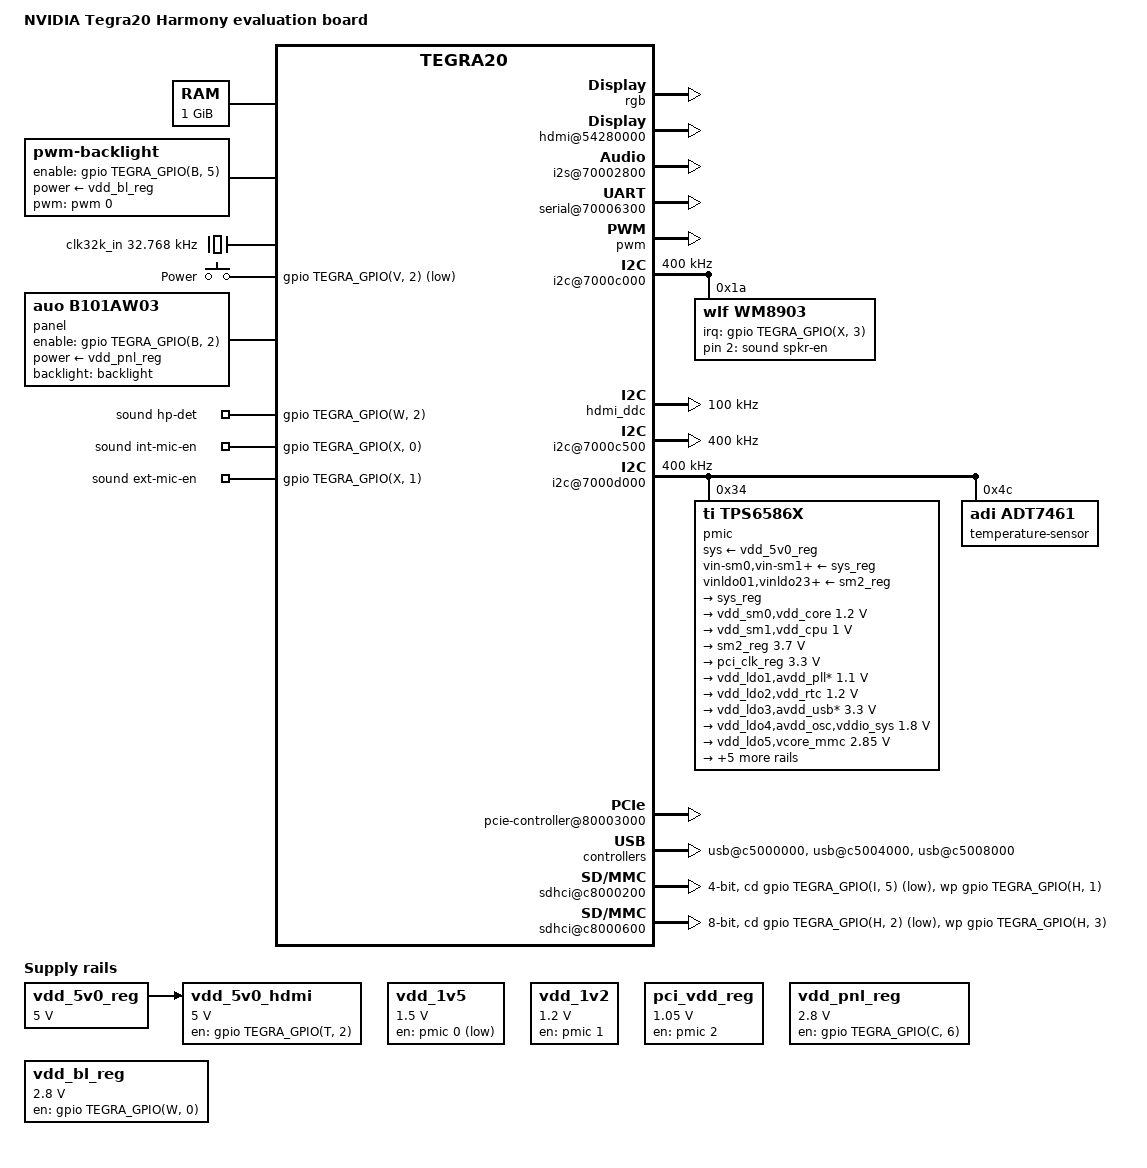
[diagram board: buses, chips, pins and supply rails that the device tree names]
/dts-v1/;

#include <dt-bindings/input/input.h>
#include "tegra20.dtsi"

/ {
	model = "NVIDIA Tegra20 Harmony evaluation board";
	compatible = "nvidia,harmony", "nvidia,tegra20";

	aliases {
		rtc0 = "/i2c@7000d000/tps6586x@34";
		rtc1 = "/rtc@7000e000";
		serial0 = &uartd;
	};

	memory {
		reg = <0x00000000 0x40000000>;
	};

	host1x@50000000 {
		dc@54200000 {
			rgb {
				status = "okay";

				nvidia,panel = <&panel>;
			};
		};

		hdmi@54280000 {
			status = "okay";

			hdmi-supply = <&vdd_5v0_hdmi>;
			vdd-supply = <&hdmi_vdd_reg>;
			pll-supply = <&hdmi_pll_reg>;

			nvidia,ddc-i2c-bus = <&hdmi_ddc>;
			nvidia,hpd-gpio = <&gpio TEGRA_GPIO(N, 7)
				GPIO_ACTIVE_HIGH>;
		};
	};

	pinmux@70000014 {
		pinctrl-names = "default";
		pinctrl-0 = <&state_default>;

		state_default: pinmux {
			ata {
				nvidia,pins = "ata";
				nvidia,function = "ide";
			};
			atb {
				nvidia,pins = "atb", "gma", "gme";
				nvidia,function = "sdio4";
			};
			atc {
				nvidia,pins = "atc";
				nvidia,function = "nand";
			};
			atd {
				nvidia,pins = "atd", "ate", "gmb", "gmd", "gpu",
					"spia", "spib", "spic";
				nvidia,function = "gmi";
			};
			cdev1 {
				nvidia,pins = "cdev1";
				nvidia,function = "plla_out";
			};
			cdev2 {
				nvidia,pins = "cdev2";
				nvidia,function = "pllp_out4";
			};
			crtp {
				nvidia,pins = "crtp";
				nvidia,function = "crt";
			};
			csus {
				nvidia,pins = "csus";
				nvidia,function = "vi_sensor_clk";
			};
			dap1 {
				nvidia,pins = "dap1";
				nvidia,function = "dap1";
			};
			dap2 {
				nvidia,pins = "dap2";
				nvidia,function = "dap2";
			};
			dap3 {
				nvidia,pins = "dap3";
				nvidia,function = "dap3";
			};
			dap4 {
				nvidia,pins = "dap4";
				nvidia,function = "dap4";
			};
			ddc {
				nvidia,pins = "ddc";
				nvidia,function = "i2c2";
			};
			dta {
				nvidia,pins = "dta", "dtd";
				nvidia,function = "sdio2";
			};
			dtb {
				nvidia,pins = "dtb", "dtc", "dte";
				nvidia,function = "rsvd1";
			};
			dtf {
				nvidia,pins = "dtf";
				nvidia,function = "i2c3";
			};
			gmc {
				nvidia,pins = "gmc";
				nvidia,function = "uartd";
			};
			gpu7 {
				nvidia,pins = "gpu7";
				nvidia,function = "rtck";
			};
			gpv {
				nvidia,pins = "gpv", "slxa", "slxk";
				nvidia,function = "pcie";
			};
			hdint {
				nvidia,pins = "hdint", "pta";
				nvidia,function = "hdmi";
			};
			i2cp {
				nvidia,pins = "i2cp";
				nvidia,function = "i2cp";
			};
			irrx {
				nvidia,pins = "irrx", "irtx";
				nvidia,function = "uarta";
			};
			kbca {
				nvidia,pins = "kbca", "kbcb", "kbcc", "kbcd",
					"kbce", "kbcf";
				nvidia,function = "kbc";
			};
			lcsn {
				nvidia,pins = "lcsn", "ld0", "ld1", "ld2",
					"ld3", "ld4", "ld5", "ld6", "ld7",
					"ld8", "ld9", "ld10", "ld11", "ld12",
					"ld13", "ld14", "ld15", "ld16", "ld17",
					"ldc", "ldi", "lhp0", "lhp1", "lhp2",
					"lhs", "lm0", "lm1", "lpp", "lpw0",
					"lpw1", "lpw2", "lsc0", "lsc1", "lsck",
					"lsda", "lsdi", "lspi", "lvp0", "lvp1",
					"lvs";
				nvidia,function = "displaya";
			};
			owc {
				nvidia,pins = "owc", "spdi", "spdo", "uac";
				nvidia,function = "rsvd2";
			};
			pmc {
				nvidia,pins = "pmc";
				nvidia,function = "pwr_on";
			};
			rm {
				nvidia,pins = "rm";
				nvidia,function = "i2c1";
			};
			sdb {
				nvidia,pins = "sdb", "sdc", "sdd";
				nvidia,function = "pwm";
			};
			sdio1 {
				nvidia,pins = "sdio1";
				nvidia,function = "sdio1";
			};
			slxc {
				nvidia,pins = "slxc", "slxd";
				nvidia,function = "spdif";
			};
			spid {
				nvidia,pins = "spid", "spie", "spif";
				nvidia,function = "spi1";
			};
			spig {
				nvidia,pins = "spig", "spih";
				nvidia,function = "spi2_alt";
			};
			uaa {
				nvidia,pins = "uaa", "uab", "uda";
				nvidia,function = "ulpi";
			};
			uad {
				nvidia,pins = "uad";
				nvidia,function = "irda";
			};
			uca {
				nvidia,pins = "uca", "ucb";
				nvidia,function = "uartc";
			};
			conf_ata {
				nvidia,pins = "ata", "atb", "atc", "atd", "ate",
					"cdev1", "cdev2", "dap1", "dtb", "gma",
					"gmb", "gmc", "gmd", "gme", "gpu7",
					"gpv", "i2cp", "pta", "rm", "slxa",
					"slxk", "spia", "spib", "uac";
				nvidia,pull = <TEGRA_PIN_PULL_NONE>;
				nvidia,tristate = <TEGRA_PIN_DISABLE>;
			};
			conf_ck32 {
				nvidia,pins = "ck32", "ddrc", "pmca", "pmcb",
					"pmcc", "pmcd", "pmce", "xm2c", "xm2d";
				nvidia,pull = <TEGRA_PIN_PULL_NONE>;
			};
			conf_csus {
				nvidia,pins = "csus", "spid", "spif";
				nvidia,pull = <TEGRA_PIN_PULL_DOWN>;
				nvidia,tristate = <TEGRA_PIN_ENABLE>;
			};
			conf_crtp {
				nvidia,pins = "crtp", "dap2", "dap3", "dap4",
					"dtc", "dte", "dtf", "gpu", "sdio1",
					"slxc", "slxd", "spdi", "spdo", "spig",
					"uda";
				nvidia,pull = <TEGRA_PIN_PULL_NONE>;
				nvidia,tristate = <TEGRA_PIN_ENABLE>;
			};
			conf_ddc {
				nvidia,pins = "ddc", "dta", "dtd", "kbca",
					"kbcb", "kbcc", "kbcd", "kbce", "kbcf",
					"sdc";
				nvidia,pull = <TEGRA_PIN_PULL_UP>;
				nvidia,tristate = <TEGRA_PIN_DISABLE>;
			};
			conf_hdint {
				nvidia,pins = "hdint", "lcsn", "ldc", "lm1",
					"lpw1", "lsc1", "lsck", "lsda", "lsdi",
					"lvp0", "owc", "sdb";
				nvidia,tristate = <TEGRA_PIN_ENABLE>;
			};
			conf_irrx {
				nvidia,pins = "irrx", "irtx", "sdd", "spic",
					"spie", "spih", "uaa", "uab", "uad",
					"uca", "ucb";
				nvidia,pull = <TEGRA_PIN_PULL_UP>;
				nvidia,tristate = <TEGRA_PIN_ENABLE>;
			};
			conf_lc {
				nvidia,pins = "lc", "ls";
				nvidia,pull = <TEGRA_PIN_PULL_UP>;
			};
			conf_ld0 {
				nvidia,pins = "ld0", "ld1", "ld2", "ld3", "ld4",
					"ld5", "ld6", "ld7", "ld8", "ld9",
					"ld10", "ld11", "ld12", "ld13", "ld14",
					"ld15", "ld16", "ld17", "ldi", "lhp0",
					"lhp1", "lhp2", "lhs", "lm0", "lpp",
					"lpw0", "lpw2", "lsc0", "lspi", "lvp1",
					"lvs", "pmc";
				nvidia,tristate = <TEGRA_PIN_DISABLE>;
			};
			conf_ld17_0 {
				nvidia,pins = "ld17_0", "ld19_18", "ld21_20",
					"ld23_22";
				nvidia,pull = <TEGRA_PIN_PULL_DOWN>;
			};
		};
	};

	i2s@70002800 {
		status = "okay";
	};

	serial@70006300 {
		status = "okay";
	};

	pwm: pwm@7000a000 {
		status = "okay";
	};

	i2c@7000c000 {
		status = "okay";
		clock-frequency = <400000>;

		wm8903: wm8903@1a {
			compatible = "wlf,wm8903";
			reg = <0x1a>;
			interrupt-parent = <&gpio>;
			interrupts = <TEGRA_GPIO(X, 3) IRQ_TYPE_LEVEL_HIGH>;

			gpio-controller;
			#gpio-cells = <2>;

			micdet-cfg = <0>;
			micdet-delay = <100>;
			gpio-cfg = <0xffffffff 0xffffffff 0 0xffffffff 0xffffffff>;
		};
	};

	hdmi_ddc: i2c@7000c400 {
		status = "okay";
		clock-frequency = <100000>;
	};

	i2c@7000c500 {
		status = "okay";
		clock-frequency = <400000>;
	};

	i2c@7000d000 {
		status = "okay";
		clock-frequency = <400000>;

		pmic: tps6586x@34 {
			compatible = "ti,tps6586x";
			reg = <0x34>;
			interrupts = <GIC_SPI 86 IRQ_TYPE_LEVEL_HIGH>;

			ti,system-power-controller;

			#gpio-cells = <2>;
			gpio-controller;

			sys-supply = <&vdd_5v0_reg>;
			vin-sm0-supply = <&sys_reg>;
			vin-sm1-supply = <&sys_reg>;
			vin-sm2-supply = <&sys_reg>;
			vinldo01-supply = <&sm2_reg>;
			vinldo23-supply = <&sm2_reg>;
			vinldo4-supply = <&sm2_reg>;
			vinldo678-supply = <&sm2_reg>;
			vinldo9-supply = <&sm2_reg>;

			regulators {
				sys_reg: sys {
					regulator-name = "vdd_sys";
					regulator-always-on;
				};

				sm0 {
					regulator-name = "vdd_sm0,vdd_core";
					regulator-min-microvolt = <1200000>;
					regulator-max-microvolt = <1200000>;
					regulator-always-on;
				};

				sm1 {
					regulator-name = "vdd_sm1,vdd_cpu";
					regulator-min-microvolt = <1000000>;
					regulator-max-microvolt = <1000000>;
					regulator-always-on;
				};

				sm2_reg: sm2 {
					regulator-name = "vdd_sm2,vin_ldo*";
					regulator-min-microvolt = <3700000>;
					regulator-max-microvolt = <3700000>;
					regulator-always-on;
				};

				pci_clk_reg: ldo0 {
					regulator-name = "vdd_ldo0,vddio_pex_clk";
					regulator-min-microvolt = <3300000>;
					regulator-max-microvolt = <3300000>;
				};

				ldo1 {
					regulator-name = "vdd_ldo1,avdd_pll*";
					regulator-min-microvolt = <1100000>;
					regulator-max-microvolt = <1100000>;
					regulator-always-on;
				};

				ldo2 {
					regulator-name = "vdd_ldo2,vdd_rtc";
					regulator-min-microvolt = <1200000>;
					regulator-max-microvolt = <1200000>;
				};

				ldo3 {
					regulator-name = "vdd_ldo3,avdd_usb*";
					regulator-min-microvolt = <3300000>;
					regulator-max-microvolt = <3300000>;
					regulator-always-on;
				};

				ldo4 {
					regulator-name = "vdd_ldo4,avdd_osc,vddio_sys";
					regulator-min-microvolt = <1800000>;
					regulator-max-microvolt = <1800000>;
					regulator-always-on;
				};

				ldo5 {
					regulator-name = "vdd_ldo5,vcore_mmc";
					regulator-min-microvolt = <2850000>;
					regulator-max-microvolt = <2850000>;
					regulator-always-on;
				};

				ldo6 {
					regulator-name = "vdd_ldo6,avdd_vdac";
					regulator-min-microvolt = <1800000>;
					regulator-max-microvolt = <1800000>;
				};

				hdmi_vdd_reg: ldo7 {
					regulator-name = "vdd_ldo7,avdd_hdmi";
					regulator-min-microvolt = <3300000>;
					regulator-max-microvolt = <3300000>;
				};

				hdmi_pll_reg: ldo8 {
					regulator-name = "vdd_ldo8,avdd_hdmi_pll";
					regulator-min-microvolt = <1800000>;
					regulator-max-microvolt = <1800000>;
				};

				ldo9 {
					regulator-name = "vdd_ldo9,avdd_2v85,vdd_ddr_rx";
					regulator-min-microvolt = <2850000>;
					regulator-max-microvolt = <2850000>;
					regulator-always-on;
				};

				ldo_rtc {
					regulator-name = "vdd_rtc_out,vdd_cell";
					regulator-min-microvolt = <3300000>;
					regulator-max-microvolt = <3300000>;
					regulator-always-on;
				};
			};
		};

		temperature-sensor@4c {
			compatible = "adi,adt7461";
			reg = <0x4c>;
		};
	};

	kbc@7000e200 {
		status = "okay";
		nvidia,debounce-delay-ms = <2>;
		nvidia,repeat-delay-ms = <160>;
		nvidia,kbc-row-pins = <0 1 2 3 4 5 6 7 8 9 10 11 12 13 14 15>;
		nvidia,kbc-col-pins = <16 17 18 19 20 21 22 23>;
		linux,keymap = <MATRIX_KEY(0x00, 0x02, KEY_W)
				MATRIX_KEY(0x00, 0x03, KEY_S)
				MATRIX_KEY(0x00, 0x04, KEY_A)
				MATRIX_KEY(0x00, 0x05, KEY_Z)
				MATRIX_KEY(0x00, 0x07, KEY_FN)
				MATRIX_KEY(0x01, 0x07, KEY_MENU)
				MATRIX_KEY(0x02, 0x06, KEY_LEFTALT)
				MATRIX_KEY(0x02, 0x07, KEY_RIGHTALT)
				MATRIX_KEY(0x03, 0x00, KEY_5)
				MATRIX_KEY(0x03, 0x01, KEY_4)
				MATRIX_KEY(0x03, 0x02, KEY_R)
				MATRIX_KEY(0x03, 0x03, KEY_E)
				MATRIX_KEY(0x03, 0x04, KEY_F)
				MATRIX_KEY(0x03, 0x05, KEY_D)
				MATRIX_KEY(0x03, 0x06, KEY_X)
				MATRIX_KEY(0x04, 0x00, KEY_7)
				MATRIX_KEY(0x04, 0x01, KEY_6)
				MATRIX_KEY(0x04, 0x02, KEY_T)
				MATRIX_KEY(0x04, 0x03, KEY_H)
				MATRIX_KEY(0x04, 0x04, KEY_G)
				MATRIX_KEY(0x04, 0x05, KEY_V)
				MATRIX_KEY(0x04, 0x06, KEY_C)
				MATRIX_KEY(0x04, 0x07, KEY_SPACE)
				MATRIX_KEY(0x05, 0x00, KEY_9)
				MATRIX_KEY(0x05, 0x01, KEY_8)
				MATRIX_KEY(0x05, 0x02, KEY_U)
				MATRIX_KEY(0x05, 0x03, KEY_Y)
				MATRIX_KEY(0x05, 0x04, KEY_J)
				MATRIX_KEY(0x05, 0x05, KEY_N)
				MATRIX_KEY(0x05, 0x06, KEY_B)
				MATRIX_KEY(0x05, 0x07, KEY_BACKSLASH)
				MATRIX_KEY(0x06, 0x00, KEY_MINUS)
				MATRIX_KEY(0x06, 0x01, KEY_0)
				MATRIX_KEY(0x06, 0x02, KEY_O)
				MATRIX_KEY(0x06, 0x03, KEY_I)
				MATRIX_KEY(0x06, 0x04, KEY_L)
				MATRIX_KEY(0x06, 0x05, KEY_K)
				MATRIX_KEY(0x06, 0x06, KEY_COMMA)
				MATRIX_KEY(0x06, 0x07, KEY_M)
				MATRIX_KEY(0x07, 0x01, KEY_EQUAL)
				MATRIX_KEY(0x07, 0x02, KEY_RIGHTBRACE)
				MATRIX_KEY(0x07, 0x03, KEY_ENTER)
				MATRIX_KEY(0x07, 0x07, KEY_MENU)
				MATRIX_KEY(0x08, 0x04, KEY_LEFTSHIFT)
				MATRIX_KEY(0x08, 0x05, KEY_RIGHTSHIFT)
				MATRIX_KEY(0x09, 0x05, KEY_LEFTCTRL)
				MATRIX_KEY(0x09, 0x07, KEY_RIGHTCTRL)
				MATRIX_KEY(0x0B, 0x00, KEY_LEFTBRACE)
				MATRIX_KEY(0x0B, 0x01, KEY_P)
				MATRIX_KEY(0x0B, 0x02, KEY_APOSTROPHE)
				MATRIX_KEY(0x0B, 0x03, KEY_SEMICOLON)
				MATRIX_KEY(0x0B, 0x04, KEY_SLASH)
				MATRIX_KEY(0x0B, 0x05, KEY_DOT)
				MATRIX_KEY(0x0C, 0x00, KEY_F10)
				MATRIX_KEY(0x0C, 0x01, KEY_F9)
				MATRIX_KEY(0x0C, 0x02, KEY_BACKSPACE)
				MATRIX_KEY(0x0C, 0x03, KEY_3)
				MATRIX_KEY(0x0C, 0x04, KEY_2)
				MATRIX_KEY(0x0C, 0x05, KEY_UP)
				MATRIX_KEY(0x0C, 0x06, KEY_PRINT)
				MATRIX_KEY(0x0C, 0x07, KEY_PAUSE)
				MATRIX_KEY(0x0D, 0x00, KEY_INSERT)
				MATRIX_KEY(0x0D, 0x01, KEY_DELETE)
				MATRIX_KEY(0x0D, 0x03, KEY_PAGEUP )
				MATRIX_KEY(0x0D, 0x04, KEY_PAGEDOWN)
				MATRIX_KEY(0x0D, 0x05, KEY_RIGHT)
				MATRIX_KEY(0x0D, 0x06, KEY_DOWN)
				MATRIX_KEY(0x0D, 0x07, KEY_LEFT)
				MATRIX_KEY(0x0E, 0x00, KEY_F11)
				MATRIX_KEY(0x0E, 0x01, KEY_F12)
				MATRIX_KEY(0x0E, 0x02, KEY_F8)
				MATRIX_KEY(0x0E, 0x03, KEY_Q)
				MATRIX_KEY(0x0E, 0x04, KEY_F4)
				MATRIX_KEY(0x0E, 0x05, KEY_F3)
				MATRIX_KEY(0x0E, 0x06, KEY_1)
				MATRIX_KEY(0x0E, 0x07, KEY_F7)
				MATRIX_KEY(0x0F, 0x00, KEY_ESC)
				MATRIX_KEY(0x0F, 0x01, KEY_GRAVE)
				MATRIX_KEY(0x0F, 0x02, KEY_F5)
				MATRIX_KEY(0x0F, 0x03, KEY_TAB)
				MATRIX_KEY(0x0F, 0x04, KEY_F1)
				MATRIX_KEY(0x0F, 0x05, KEY_F2)
				MATRIX_KEY(0x0F, 0x06, KEY_CAPSLOCK)
				MATRIX_KEY(0x0F, 0x07, KEY_F6)
				MATRIX_KEY(0x14, 0x00, KEY_KP7)
				MATRIX_KEY(0x15, 0x00, KEY_KP9)
				MATRIX_KEY(0x15, 0x01, KEY_KP8)
				MATRIX_KEY(0x15, 0x02, KEY_KP4)
				MATRIX_KEY(0x15, 0x04, KEY_KP1)
				MATRIX_KEY(0x16, 0x01, KEY_KPSLASH)
				MATRIX_KEY(0x16, 0x02, KEY_KP6)
				MATRIX_KEY(0x16, 0x03, KEY_KP5)
				MATRIX_KEY(0x16, 0x04, KEY_KP3)
				MATRIX_KEY(0x16, 0x05, KEY_KP2)
				MATRIX_KEY(0x16, 0x07, KEY_KP0)
				MATRIX_KEY(0x1B, 0x01, KEY_KPASTERISK)
				MATRIX_KEY(0x1B, 0x03, KEY_KPMINUS)
				MATRIX_KEY(0x1B, 0x04, KEY_KPPLUS)
				MATRIX_KEY(0x1B, 0x05, KEY_KPDOT)
				MATRIX_KEY(0x1C, 0x05, KEY_VOLUMEUP)
				MATRIX_KEY(0x1D, 0x03, KEY_HOME)
				MATRIX_KEY(0x1D, 0x04, KEY_END)
				MATRIX_KEY(0x1D, 0x05, KEY_BRIGHTNESSUP)
				MATRIX_KEY(0x1D, 0x06, KEY_VOLUMEDOWN)
				MATRIX_KEY(0x1D, 0x07, KEY_BRIGHTNESSDOWN)
				MATRIX_KEY(0x1E, 0x00, KEY_NUMLOCK)
				MATRIX_KEY(0x1E, 0x01, KEY_SCROLLLOCK)
				MATRIX_KEY(0x1E, 0x02, KEY_MUTE)
				MATRIX_KEY(0x1F, 0x04, KEY_QUESTION)>;
	};

	pmc@7000e400 {
		nvidia,invert-interrupt;
		nvidia,suspend-mode = <1>;
		nvidia,cpu-pwr-good-time = <5000>;
		nvidia,cpu-pwr-off-time = <5000>;
		nvidia,core-pwr-good-time = <3845 3845>;
		nvidia,core-pwr-off-time = <3875>;
		nvidia,sys-clock-req-active-high;
	};

	pcie-controller@80003000 {
		status = "okay";

		avdd-pex-supply = <&pci_vdd_reg>;
		vdd-pex-supply = <&pci_vdd_reg>;
		avdd-pex-pll-supply = <&pci_vdd_reg>;
		avdd-plle-supply = <&pci_vdd_reg>;
		vddio-pex-clk-supply = <&pci_clk_reg>;

		pci@1,0 {
			status = "okay";
		};

		pci@2,0 {
			status = "okay";
		};
	};

	usb@c5000000 {
		status = "okay";
	};

	usb-phy@c5000000 {
		status = "okay";
	};

	usb@c5004000 {
		status = "okay";
		nvidia,phy-reset-gpio = <&gpio TEGRA_GPIO(V, 1)
			GPIO_ACTIVE_LOW>;
	};

	usb-phy@c5004000 {
		status = "okay";
		nvidia,phy-reset-gpio = <&gpio TEGRA_GPIO(V, 1)
			GPIO_ACTIVE_LOW>;
	};

	usb@c5008000 {
		status = "okay";
	};

	usb-phy@c5008000 {
		status = "okay";
	};

	sdhci@c8000200 {
		status = "okay";
		cd-gpios = <&gpio TEGRA_GPIO(I, 5) GPIO_ACTIVE_LOW>;
		wp-gpios = <&gpio TEGRA_GPIO(H, 1) GPIO_ACTIVE_HIGH>;
		power-gpios = <&gpio TEGRA_GPIO(T, 3) GPIO_ACTIVE_HIGH>;
		bus-width = <4>;
	};

	sdhci@c8000600 {
		status = "okay";
		cd-gpios = <&gpio TEGRA_GPIO(H, 2) GPIO_ACTIVE_LOW>;
		wp-gpios = <&gpio TEGRA_GPIO(H, 3) GPIO_ACTIVE_HIGH>;
		power-gpios = <&gpio TEGRA_GPIO(I, 6) GPIO_ACTIVE_HIGH>;
		bus-width = <8>;
	};

	backlight: backlight {
		compatible = "pwm-backlight";

		enable-gpios = <&gpio TEGRA_GPIO(B, 5) GPIO_ACTIVE_HIGH>;
		power-supply = <&vdd_bl_reg>;
		pwms = <&pwm 0 5000000>;

		brightness-levels = <0 4 8 16 32 64 128 255>;
		default-brightness-level = <6>;
	};

	clocks {
		compatible = "simple-bus";
		#address-cells = <1>;
		#size-cells = <0>;

		clk32k_in: clock@0 {
			compatible = "fixed-clock";
			reg=<0>;
			#clock-cells = <0>;
			clock-frequency = <32768>;
		};
	};

	gpio-keys {
		compatible = "gpio-keys";

		power {
			label = "Power";
			gpios = <&gpio TEGRA_GPIO(V, 2) GPIO_ACTIVE_LOW>;
			linux,code = <KEY_POWER>;
			gpio-key,wakeup;
		};
	};

	panel: panel {
		compatible = "auo,b101aw03", "simple-panel";

		power-supply = <&vdd_pnl_reg>;
		enable-gpios = <&gpio TEGRA_GPIO(B, 2) GPIO_ACTIVE_HIGH>;

		backlight = <&backlight>;
	};

	regulators {
		compatible = "simple-bus";
		#address-cells = <1>;
		#size-cells = <0>;

		vdd_5v0_reg: regulator@0 {
			compatible = "regulator-fixed";
			reg = <0>;
			regulator-name = "vdd_5v0";
			regulator-min-microvolt = <5000000>;
			regulator-max-microvolt = <5000000>;
			regulator-always-on;
		};

		regulator@1 {
			compatible = "regulator-fixed";
			reg = <1>;
			regulator-name = "vdd_1v5";
			regulator-min-microvolt = <1500000>;
			regulator-max-microvolt = <1500000>;
			gpio = <&pmic 0 GPIO_ACTIVE_HIGH>;
		};

		regulator@2 {
			compatible = "regulator-fixed";
			reg = <2>;
			regulator-name = "vdd_1v2";
			regulator-min-microvolt = <1200000>;
			regulator-max-microvolt = <1200000>;
			gpio = <&pmic 1 GPIO_ACTIVE_HIGH>;
			enable-active-high;
		};

		pci_vdd_reg: regulator@3 {
			compatible = "regulator-fixed";
			reg = <3>;
			regulator-name = "vdd_1v05";
			regulator-min-microvolt = <1050000>;
			regulator-max-microvolt = <1050000>;
			gpio = <&pmic 2 GPIO_ACTIVE_HIGH>;
			enable-active-high;
		};

		vdd_pnl_reg: regulator@4 {
			compatible = "regulator-fixed";
			reg = <4>;
			regulator-name = "vdd_pnl";
			regulator-min-microvolt = <2800000>;
			regulator-max-microvolt = <2800000>;
			gpio = <&gpio TEGRA_GPIO(C, 6) GPIO_ACTIVE_HIGH>;
			enable-active-high;
		};

		vdd_bl_reg: regulator@5 {
			compatible = "regulator-fixed";
			reg = <5>;
			regulator-name = "vdd_bl";
			regulator-min-microvolt = <2800000>;
			regulator-max-microvolt = <2800000>;
			gpio = <&gpio TEGRA_GPIO(W, 0) GPIO_ACTIVE_HIGH>;
			enable-active-high;
		};

		vdd_5v0_hdmi: regulator@6 {
			compatible = "regulator-fixed";
			reg = <6>;
			regulator-name = "VDDIO_HDMI";
			regulator-min-microvolt = <5000000>;
			regulator-max-microvolt = <5000000>;
			gpio = <&gpio TEGRA_GPIO(T, 2) GPIO_ACTIVE_HIGH>;
			enable-active-high;
			vin-supply = <&vdd_5v0_reg>;
		};
	};

	sound {
		compatible = "nvidia,tegra-audio-wm8903-harmony",
			     "nvidia,tegra-audio-wm8903";
		nvidia,model = "NVIDIA Tegra Harmony";

		nvidia,audio-routing =
			"Headphone Jack", "HPOUTR",
			"Headphone Jack", "HPOUTL",
			"Int Spk", "ROP",
			"Int Spk", "RON",
			"Int Spk", "LOP",
			"Int Spk", "LON",
			"Mic Jack", "MICBIAS",
			"IN1L", "Mic Jack";

		nvidia,i2s-controller = <&tegra_i2s1>;
		nvidia,audio-codec = <&wm8903>;

		nvidia,spkr-en-gpios = <&wm8903 2 GPIO_ACTIVE_HIGH>;
		nvidia,hp-det-gpios = <&gpio TEGRA_GPIO(W, 2)
			GPIO_ACTIVE_HIGH>;
		nvidia,int-mic-en-gpios = <&gpio TEGRA_GPIO(X, 0)
			GPIO_ACTIVE_HIGH>;
		nvidia,ext-mic-en-gpios = <&gpio TEGRA_GPIO(X, 1)
			GPIO_ACTIVE_HIGH>;

		clocks = <&tegra_car TEGRA20_CLK_PLL_A>,
			 <&tegra_car TEGRA20_CLK_PLL_A_OUT0>,
			 <&tegra_car TEGRA20_CLK_CDEV1>;
		clock-names = "pll_a", "pll_a_out0", "mclk";
	};
};
